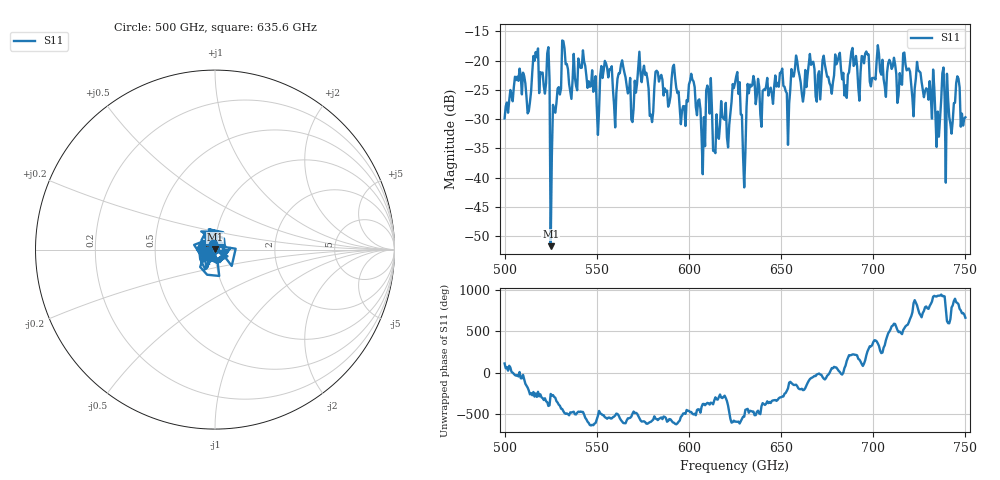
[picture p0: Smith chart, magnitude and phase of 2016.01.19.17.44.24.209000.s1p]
!Created with skrf (http://scikit-rf.org).
# GHz S RI R 50.0
!freq ReS11 ImS11
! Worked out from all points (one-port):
!   401 points, 500 GHz to 750 GHz, reference 50 ohm
!   lowest |S11| = -51.7 dB at 525 GHz (marker M1), VSWR 1.01, Z = 49.9 + j0.254 ohm
!   |S11| at or under -10 dB: start of sweep to end of sweep
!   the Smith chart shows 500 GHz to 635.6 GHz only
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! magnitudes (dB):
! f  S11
! 500 GHz  -29.9
! 506.9 GHz  -22.7
! 513.1 GHz  -28.7
! 516.9 GHz  -18.5
! 523.1 GHz  -18.8
! 525 GHz  -51.7
! 526.2 GHz  -27.6
! 531.2 GHz  -16.6
! 550 GHz  -28.0
! 562.5 GHz  -22.2
! 570 GHz  -28.2
! 574.4 GHz  -23.7
! 579.4 GHz  -29.3
! 583.1 GHz  -22.0
! 593.8 GHz  -25.6
! 601.9 GHz  -23.3
! 607.5 GHz  -39.4
! 610.6 GHz  -25.1
! 614.4 GHz  -35.8
! 625 GHz  -23.8
! 629.4 GHz  -36.3
! 634.4 GHz  -24.2
! 656.2 GHz  -22.7
! 687.5 GHz  -20.2
! 718.8 GHz  -21.5
! 735 GHz  -28.7
! 745.6 GHz  -22.7
! 750 GHz  -29.7
